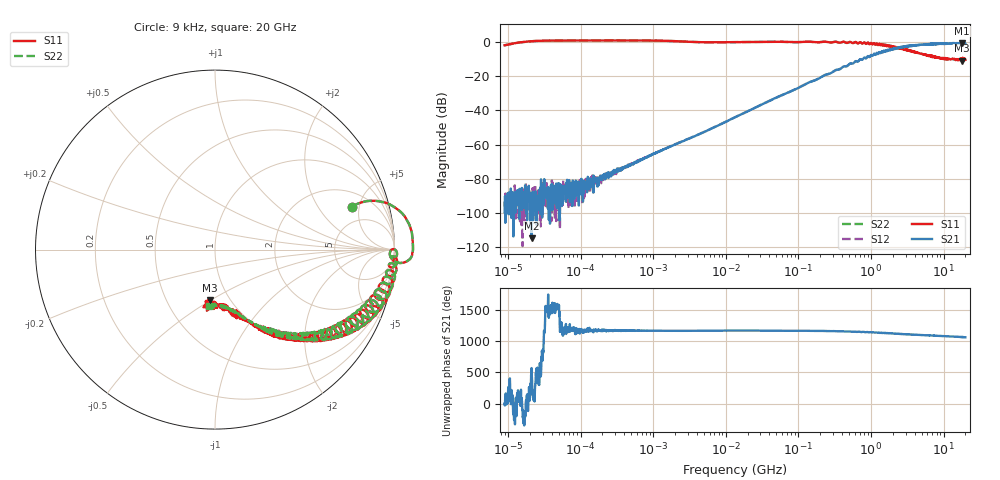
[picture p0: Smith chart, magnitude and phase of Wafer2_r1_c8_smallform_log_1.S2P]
!  2-Port S-parameters saved by WinCal
! VAR MeasName=S-Parameters (CALIBRATED_DATA) read from VNA (P5004A)
! VAR MeasDate=26/04/2024 18:43:05
! VAR NAME=Wafer2_r1_c8_smallform_log
! VAR FILENAME=Wafer2_r1_c8_smallform_log_1.S2P
! VAR DATE=26/04/2024 18:43:05
! VAR PHYS_PORTS=1,2
! VAR ObjTypeName=DATASET
! VAR IndexType=Frequency
# Hz S MA R 50
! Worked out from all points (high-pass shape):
!   2000 points, 9 kHz to 20 GHz, reference 50 ohm
!   highest |S21| = -0.64 dB at 18.05 GHz (marker M1); lowest = -114.9 dB at 21.17 kHz (marker M2)
!   |S21| within 3 dB of the highest: 2.259 GHz to 2.317 GHz (58.15 MHz wide, 2.54 % of centre); 2.346 GHz to end of sweep (the widest 2 of 3)
!   lowest |S11| = -11.0 dB at 17.79 GHz (marker M3), VSWR 1.79, Z = 40.6 - j24.9 ohm
!   |S11| at or under -10 dB: 11.54 GHz to 11.85 GHz (311.8 MHz wide, 2.67 % of centre); 12.15 GHz to 12.94 GHz (783.8 MHz wide, 6.25 % of centre); 14.27 GHz to 17.02 GHz (2.751 GHz wide, 17.6 % of centre) (the widest 3 of 16)
!   |S22| runs from -10.6 to 0.9 dB; largest |S21 - S12| = 0.036
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9000  0.7978 17.3  1.059e-05 0.5  2.214e-05 -108.9  0.7978 17.3
13162.59  0.9359 16.9  3.612e-05 -86.9  1.921e-05 -172.5  0.9357 16.9
21169.73  1.049 11.9  1.8e-06 -150.8  3.091e-05 -165.8  1.049 11.9
36363.35  1.095 6.6  2.995e-05 -44.6  2.256e-05 66.5  1.095 6.6
103439.5  1.102 2.1  4.701e-05 113.9  7.592e-05 90.7  1.102 2.1
189762.2  1.103 0.9  0.0001047 94.3  7.926e-05 77.3  1.103 0.9
261763.4  1.103 0.4  0.0001167 87.2  0.0001538 91.2  1.103 0.4
1180198  1.09 -2.6  0.0006188 85.5  0.0006289 87.6  1.09 -2.6
4530556  0.9807 -2.6  0.002104 86.6  0.002126 86.5  0.9807 -2.6
1.346554e7  0.986 0.1  0.006269 89.3  0.00632 88.7  0.986 0.1
1.105652e8  0.9951 -2.1  0.05048 86.5  0.05082 86.1  0.9947 -2.1
1.536358e8  1 -5.6  0.07085 82.6  0.07011 82.8  1.001 -5.5
2.966476e8  0.9822 -6.7  0.1315 81.3  0.1328 81.2  0.982 -6.7
7.506948e8  0.896 -20.9  0.2996 66.2  0.2989 66.4  0.8977 -20.7
1.752917e9  0.7415 -37.5  0.5569 47.9  0.5599 47.9  0.7411 -37.2
2.860783e9  0.6252 -50.0  0.7299 33.8  0.7345 33.5  0.6231 -49.7
5.364551e9  0.4333 -66.5  0.8401 15.6  0.8378 15.3  0.4317 -65.1
9.488158e9  0.3349 -80.8  0.8901 1.5  0.8801 1.3  0.3337 -77.1
1.347662e10  0.3249 -87.8  0.9245 -6.0  0.9205 -6.8  0.31 -86.4
1.779223e10  0.2835 -95.3  0.8794 -14.9  0.8837 -12.6  0.326 -92.1
1.805428e10  0.3382 -97.3  0.9284 -14.8  0.9022 -16.4  0.2939 -92.6
2e10  0.2979 -97.1  0.8867 -17.9  0.8997 -17.2  0.3146 -96.3
